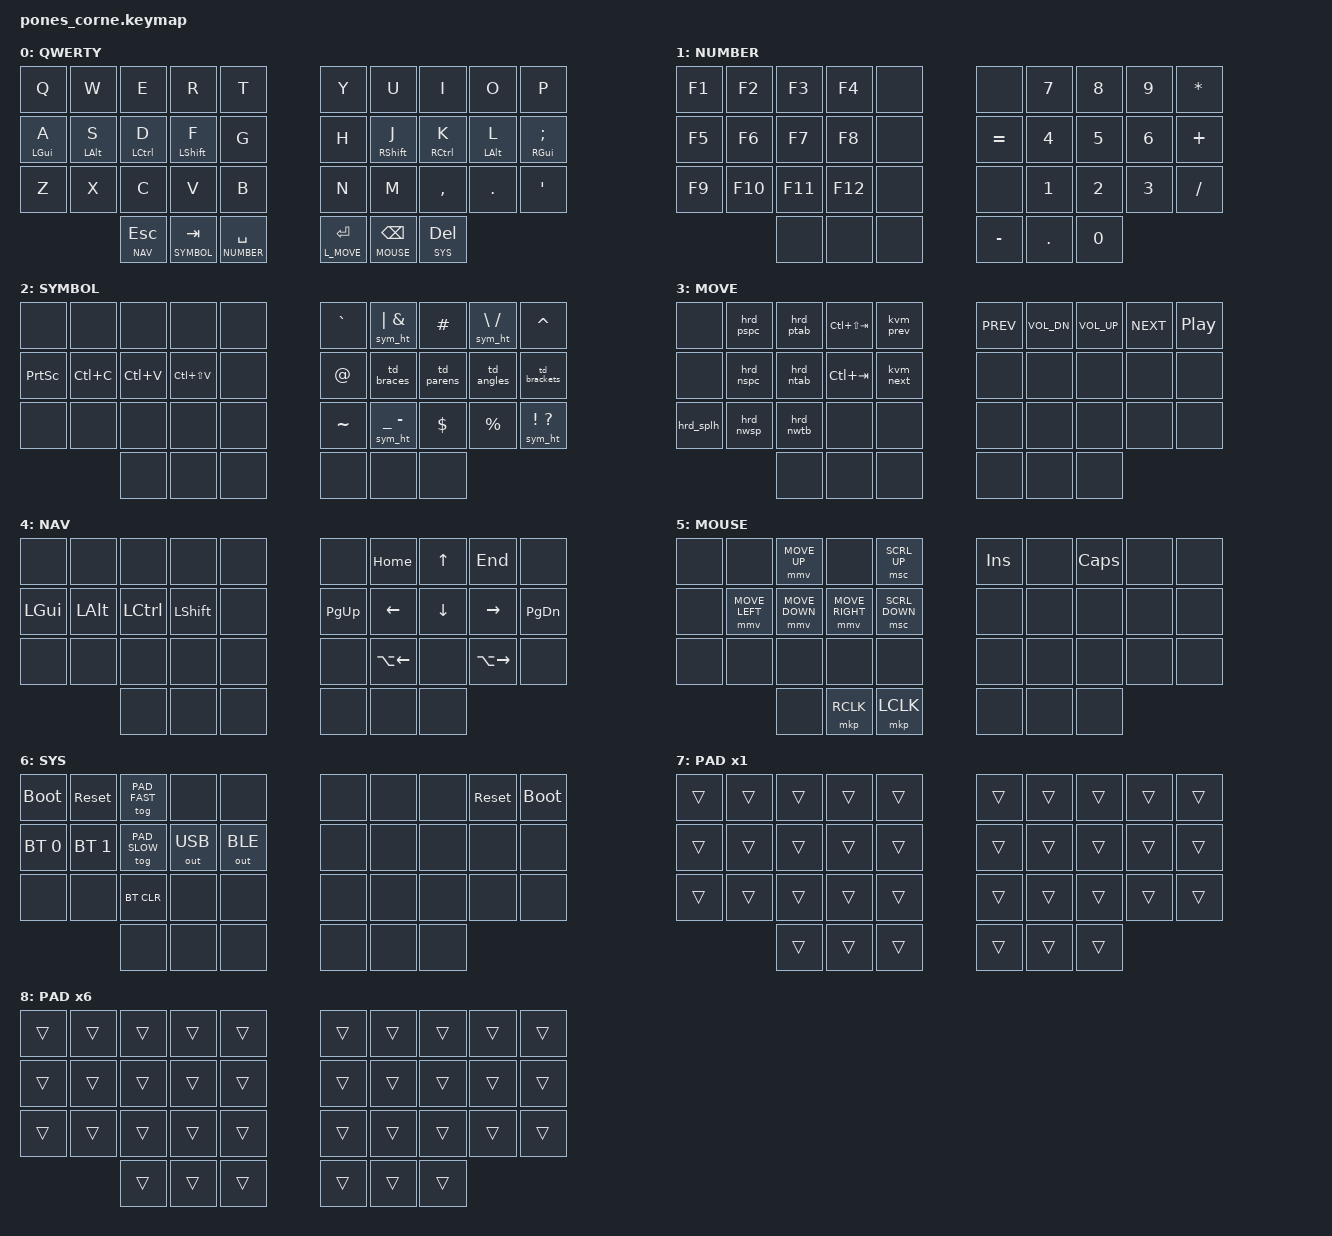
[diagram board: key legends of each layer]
#include <behaviors.dtsi>
#include <dt-bindings/zmk/bt.h>
#include <dt-bindings/zmk/keys.h>
// Keyboard mouse keys: 2x stock top speed, stock 300 ms linear ramp
// (factory firmware used 300 ms / exponent 1 as well).
#define ZMK_POINTING_DEFAULT_MOVE_VAL 1200
#include <dt-bindings/zmk/pointing.h>
#include <dt-bindings/zmk/outputs.h>

#include "pones.dtsi"

#define QWERTY 0
#define NUMBER 1
#define SYMBOL 2
#define L_MOVE 3
#define NAV 4
#define MOUSE 5
#define SYS 6
#define PAD_SLOW 7
#define PAD_FAST 8

&mmv {
    time-to-max-speed-ms = <300>;
    acceleration-exponent = <1>;
};

/ {
    combos {
        compatible = "zmk,combos";
        combo_caps_word {
            timeout-ms = <30>;
            key-positions = <13 16>; // F + J in the 36-key transform.
            layers = <QWERTY>;
            bindings = <&caps_word>;
        };

        // Combos resolve on the central (SOURCE_LOCAL), so this single-key
        // combo resets the dongle itself; a plain &bootloader on Z would
        // reset the left half that sent the key.
        combo_dongle_bootloader {
            timeout-ms = <50>;
            key-positions = <20>; // Z in the 36-key transform.
            layers = <SYS>;
            bindings = <&bootloader>;
        };
    };

    keymap {
        compatible = "zmk,keymap";

        // Five-column Corne order: three rows of 10, then six thumbs.
        // &none deliberately blocks keys, matching QMK XXXXXXX.
        qwerty_layer {
            display-name = "QWERTY";
            bindings = <
                &kp Q        &kp W       &kp E        &kp R        &kp T   &kp Y  &kp U        &kp I        &kp O       &kp P
                &mt LGUI A   &mt LALT S  &mt LCTRL D  &mt LSHFT F  &kp G   &kp H  &mt RSHFT J  &mt RCTRL K  &mt LALT L  &mt RGUI SEMI
                &kp Z        &kp X       &kp C        &kp V        &kp B   &kp N  &kp M        &kp COMMA    &kp DOT     &kp SQT
                                               &lt NAV ESC  &lt SYMBOL TAB &lt NUMBER SPACE   &lt L_MOVE RET &lt MOUSE BSPC &lt SYS DEL
            >;
        };

        number_layer {
            display-name = "NUMBER";
            bindings = <
                &kp F1  &kp F2   &kp F3   &kp F4   &none   &none      &kp N7  &kp N8  &kp N9  &kp ASTRK
                &kp F5  &kp F6   &kp F7   &kp F8   &none   &kp EQUAL  &kp N4  &kp N5  &kp N6  &kp PLUS
                &kp F9  &kp F10  &kp F11  &kp F12  &none   &none      &kp N1  &kp N2  &kp N3  &kp FSLH
                                       &none &none &none   &kp MINUS &kp DOT &kp N0
            >;
        };

        symbol_layer {
            display-name = "SYMBOL";
            bindings = <
                &none     &none      &none      &none          &none   &kp GRAVE  &sym_ht PIPE AMPS  &kp HASH    &sym_ht BSLH FSLH  &kp CARET
                &kp PSCRN &kp LC(C)  &kp LC(V)  &kp LC(LS(V))  &none   &kp AT     &td_braces         &td_parens  &td_angles         &td_brackets
                &none     &none      &none      &none          &none   &kp TILDE  &sym_ht UNDER MINUS &kp DLLR   &kp PRCNT          &sym_ht EXCL QMARK
                                          &none &none &none   &none &none &none
            >;
        };

        move_layer {
            display-name = "MOVE";
            // BT/USB output controls live on SYS.
            bindings = <
                &none      &hrd_pspc  &hrd_ptab  &kp LC(LS(TAB))  &kvm_prev   &kp C_PREV  &kp C_VOL_DN  &kp C_VOL_UP  &kp C_NEXT  &kp C_PP
                &none      &hrd_nspc  &hrd_ntab  &kp LC(TAB)      &kvm_next   &none       &none         &none         &none       &none
                &hrd_splh  &hrd_nwsp  &hrd_nwtb  &none            &none       &none       &none         &none         &none       &none
                                            &none &none &none   &none &none &none
            >;
        };

        nav_layer {
            display-name = "NAV";
            bindings = <
                &none     &none     &none      &none      &none   &none      &kp HOME      &kp UP    &kp END        &none
                &kp LGUI  &kp LALT  &kp LCTRL  &kp LSHFT  &none   &kp PG_UP  &kp LEFT      &kp DOWN  &kp RIGHT      &kp PG_DN
                &none     &none     &none      &none      &none   &none      &kp LA(LEFT)  &none     &kp LA(RIGHT)  &none
                                          &none &none &none   &none &none &none
            >;
        };

        mouse_layer {
            display-name = "MOUSE";
            bindings = <
                &none  &none           &mmv MOVE_UP    &none            &msc SCRL_UP     &kp INS  &none  &kp CAPS  &none  &none
                &none  &mmv MOVE_LEFT  &mmv MOVE_DOWN  &mmv MOVE_RIGHT  &msc SCRL_DOWN   &none    &none  &none     &none  &none
                &none  &none           &none           &none            &none           &none    &none  &none     &none  &none
                                              &none &mkp RCLK &mkp LCLK   &none &none &none
            >;
        };

        // Held from the right outer thumb (DEL). Reset/bootloader run on the
        // half whose key is pressed; Z (single-key combo) targets the dongle.
        // D / E toggle trackpad precision (x1) / fast (x6), as factory DPI layers.
        sys_layer {
            display-name = "SYS";
            bindings = <
                &bootloader   &sys_reset    &tog PAD_FAST &none      &none          &none  &none  &none  &sys_reset  &bootloader
                &bt BT_SEL 0  &bt BT_SEL 1  &tog PAD_SLOW &out OUT_USB &out OUT_BLE &none  &none  &none  &none       &none
                &none         &none         &bt BT_CLR &none         &none          &none  &none  &none  &none       &none
                                          &none &none &none   &none &none &none
            >;
        };

        // Toggle-only speed layers: fully transparent, read by the dongle's
        // trackpad listener (pones_corne_dongle.overlay).
        pad_slow_layer {
            display-name = "PAD x1";
            bindings = <
                &trans &trans &trans &trans &trans &trans &trans &trans &trans &trans
                &trans &trans &trans &trans &trans &trans &trans &trans &trans &trans
                &trans &trans &trans &trans &trans &trans &trans &trans &trans &trans
                                &trans &trans &trans   &trans &trans &trans
            >;
        };

        pad_fast_layer {
            display-name = "PAD x6";
            bindings = <
                &trans &trans &trans &trans &trans &trans &trans &trans &trans &trans
                &trans &trans &trans &trans &trans &trans &trans &trans &trans &trans
                &trans &trans &trans &trans &trans &trans &trans &trans &trans &trans
                                &trans &trans &trans   &trans &trans &trans
            >;
        };
    };
};
